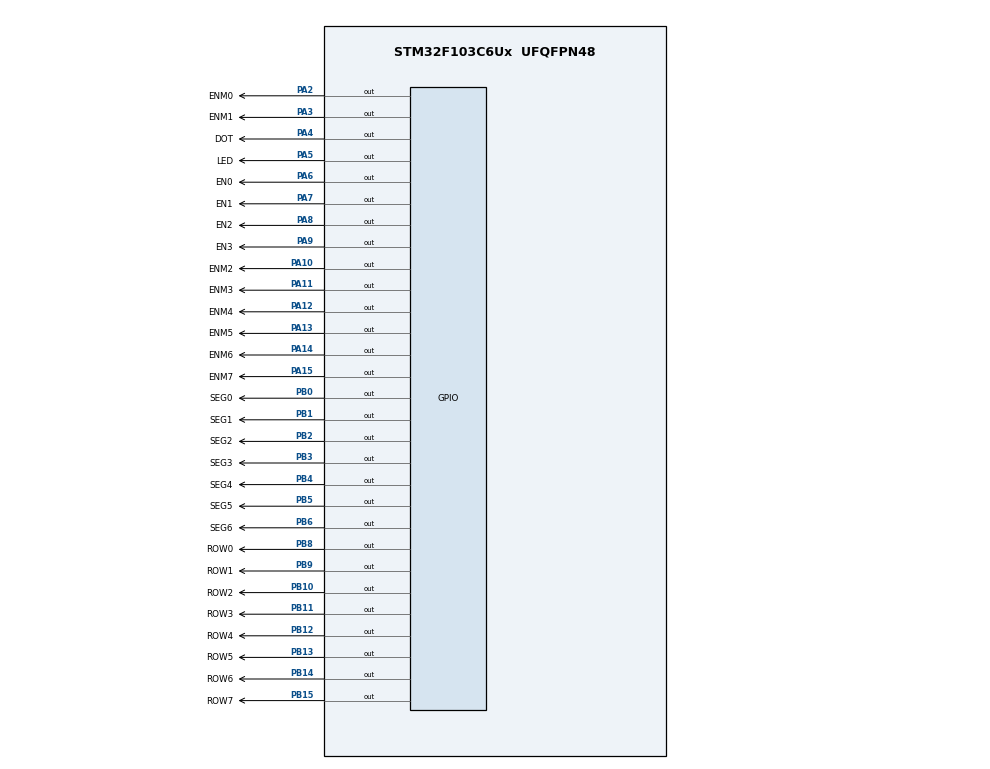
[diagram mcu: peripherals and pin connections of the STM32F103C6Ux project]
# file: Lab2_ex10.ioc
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Mcu.Family=STM32F1
Mcu.Name=STM32F103C6Ux
Mcu.Package=UFQFPN48
NVIC.PriorityGroup=NVIC_PRIORITYGROUP_4
NVIC.TIM2_IRQn=true\:0\:0\:false\:false\:true\:true\:true
PA10.GPIO_Label=ENM2
PA10.Signal=GPIO_Output
PA11.GPIO_Label=ENM3
PA11.Signal=GPIO_Output
PA12.GPIO_Label=ENM4
PA12.Signal=GPIO_Output
PA13.GPIO_Label=ENM5
PA13.Signal=GPIO_Output
PA14.GPIO_Label=ENM6
PA14.Signal=GPIO_Output
PA15.GPIO_Label=ENM7
PA15.Signal=GPIO_Output
PA2.GPIO_Label=ENM0
PA2.Signal=GPIO_Output
PA3.GPIO_Label=ENM1
PA3.Signal=GPIO_Output
PA4.GPIO_Label=DOT
PA4.Signal=GPIO_Output
PA5.GPIO_Label=LED
PA5.Signal=GPIO_Output
PA6.GPIO_Label=EN0
PA6.Signal=GPIO_Output
PA7.GPIO_Label=EN1
PA7.Signal=GPIO_Output
PA8.GPIO_Label=EN2
PA8.Signal=GPIO_Output
PA9.GPIO_Label=EN3
PA9.Signal=GPIO_Output
PB0.GPIO_Label=SEG0
PB0.Signal=GPIO_Output
PB1.GPIO_Label=SEG1
PB1.Signal=GPIO_Output
PB10.GPIO_Label=ROW2
PB10.Signal=GPIO_Output
PB11.GPIO_Label=ROW3
PB11.Signal=GPIO_Output
PB12.GPIO_Label=ROW4
PB12.Signal=GPIO_Output
PB13.GPIO_Label=ROW5
PB13.Signal=GPIO_Output
PB14.GPIO_Label=ROW6
PB14.Signal=GPIO_Output
PB15.GPIO_Label=ROW7
PB15.Signal=GPIO_Output
PB2.GPIO_Label=SEG2
PB2.Signal=GPIO_Output
PB3.GPIO_Label=SEG3
PB3.Signal=GPIO_Output
PB4.GPIO_Label=SEG4
PB4.Signal=GPIO_Output
PB5.GPIO_Label=SEG5
PB5.Signal=GPIO_Output
PB6.GPIO_Label=SEG6
PB6.Signal=GPIO_Output
PB8.GPIO_Label=ROW0
PB8.Signal=GPIO_Output
PB9.GPIO_Label=ROW1
PB9.Signal=GPIO_Output
ProjectManager.HeapSize=0x200
ProjectManager.StackSize=0x400
ProjectManager.TargetToolchain=STM32CubeIDE
RCC.APB1Freq_Value=8000000
RCC.APB2Freq_Value=8000000
TIM2.Period=9
TIM2.Prescaler=7999
VP_SYS_VS_ND.Mode=No_Debug
VP_TIM2_VS_ClockSourceINT.Mode=Internal
board=custom

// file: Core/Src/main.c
/* USER CODE BEGIN Header */
/**
  ******************************************************************************
  * @file           : main.c
  * @brief          : Main program body
  ******************************************************************************
  * @attention
  *
  * <h2><center>&copy; Copyright (c) 2022 STMicroelectronics.
  * All rights reserved.</center></h2>
  *
  * This software component is licensed by ST under BSD 3-Clause license,
  * the "License"; You may not use this file except in compliance with the
  * License. You may obtain a copy of the License at:
  *                        opensource.org/licenses/BSD-3-Clause
  *
  ******************************************************************************
  */
/* USER CODE END Header */
#include "main.h"

TIM_HandleTypeDef htim2;

void SystemClock_Config(void);
static void MX_GPIO_Init(void);
static void MX_TIM2_Init(void);

/* USER CODE BEGIN 0 */
void display7SEG(int num){
		  // VARIABLES a,b,c,d,e,f,g ARE DEFINED BY THESE SPECIFIC DESCRIPTION ABOVE.
		  // DISLAY NUMBER 0
			if(num == 0){
				HAL_GPIO_WritePin ( SEG0_GPIO_Port , SEG0_Pin ,GPIO_PIN_RESET );
				HAL_GPIO_WritePin ( SEG1_GPIO_Port , SEG1_Pin ,GPIO_PIN_RESET );
				HAL_GPIO_WritePin ( SEG2_GPIO_Port , SEG2_Pin ,GPIO_PIN_RESET );
				HAL_GPIO_WritePin ( SEG3_GPIO_Port , SEG3_Pin ,GPIO_PIN_RESET );
				HAL_GPIO_WritePin ( SEG4_GPIO_Port , SEG4_Pin ,GPIO_PIN_RESET );
				HAL_GPIO_WritePin ( SEG5_GPIO_Port , SEG5_Pin ,GPIO_PIN_RESET );
				HAL_GPIO_WritePin ( SEG6_GPIO_Port , SEG6_Pin ,GPIO_PIN_SET );
			}
			// DISLAY NUMBER 1
			else if(num == 1){
				HAL_GPIO_WritePin ( SEG0_GPIO_Port , SEG0_Pin ,GPIO_PIN_SET );
				HAL_GPIO_WritePin ( SEG1_GPIO_Port , SEG1_Pin ,GPIO_PIN_RESET );
				HAL_GPIO_WritePin ( SEG2_GPIO_Port , SEG2_Pin ,GPIO_PIN_RESET );
				HAL_GPIO_WritePin ( SEG3_GPIO_Port , SEG3_Pin ,GPIO_PIN_SET );
				HAL_GPIO_WritePin ( SEG4_GPIO_Port , SEG4_Pin ,GPIO_PIN_SET );
				HAL_GPIO_WritePin ( SEG5_GPIO_Port , SEG5_Pin ,GPIO_PIN_SET );
				HAL_GPIO_WritePin ( SEG6_GPIO_Port , SEG6_Pin ,GPIO_PIN_SET );
			}
			// DISLAY NUMBER 2
			else if(num == 2){
					HAL_GPIO_WritePin ( SEG0_GPIO_Port , SEG0_Pin ,GPIO_PIN_RESET );
					HAL_GPIO_WritePin ( SEG1_GPIO_Port , SEG1_Pin ,GPIO_PIN_RESET );
					HAL_GPIO_WritePin ( SEG2_GPIO_Port , SEG2_Pin ,GPIO_PIN_SET );
					HAL_GPIO_WritePin ( SEG3_GPIO_Port , SEG3_Pin ,GPIO_PIN_RESET );
					HAL_GPIO_WritePin ( SEG4_GPIO_Port , SEG4_Pin ,GPIO_PIN_RESET );
					HAL_GPIO_WritePin ( SEG5_GPIO_Port , SEG5_Pin ,GPIO_PIN_SET );
					HAL_GPIO_WritePin ( SEG6_GPIO_Port , SEG6_Pin ,GPIO_PIN_RESET );
				}
		    // DISLAY NUMBER 3
			else if(num == 3){
				HAL_GPIO_WritePin ( SEG0_GPIO_Port , SEG0_Pin ,GPIO_PIN_RESET );
				HAL_GPIO_WritePin ( SEG1_GPIO_Port , SEG1_Pin ,GPIO_PIN_RESET );
				HAL_GPIO_WritePin ( SEG2_GPIO_Port , SEG2_Pin ,GPIO_PIN_RESET );
				HAL_GPIO_WritePin ( SEG3_GPIO_Port , SEG3_Pin ,GPIO_PIN_RESET );
				HAL_GPIO_WritePin ( SEG4_GPIO_Port , SEG4_Pin ,GPIO_PIN_SET );
				HAL_GPIO_WritePin ( SEG5_GPIO_Port , SEG5_Pin ,GPIO_PIN_SET );
				HAL_GPIO_WritePin ( SEG6_GPIO_Port , SEG6_Pin ,GPIO_PIN_RESET );
			}
			// DISLAY NUMBER 4
			else if(num == 4){
				HAL_GPIO_WritePin ( SEG0_GPIO_Port , SEG0_Pin ,GPIO_PIN_SET );
				HAL_GPIO_WritePin ( SEG1_GPIO_Port , SEG1_Pin ,GPIO_PIN_RESET );
				HAL_GPIO_WritePin ( SEG2_GPIO_Port , SEG2_Pin ,GPIO_PIN_RESET );
				HAL_GPIO_WritePin ( SEG3_GPIO_Port , SEG3_Pin ,GPIO_PIN_SET );
				HAL_GPIO_WritePin ( SEG4_GPIO_Port , SEG4_Pin ,GPIO_PIN_SET );
				HAL_GPIO_WritePin ( SEG5_GPIO_Port , SEG5_Pin ,GPIO_PIN_RESET );
				HAL_GPIO_WritePin ( SEG6_GPIO_Port , SEG6_Pin ,GPIO_PIN_RESET );
			}
			// DISLAY NUMBER 5
			else if(num == 5){
				HAL_GPIO_WritePin ( SEG0_GPIO_Port , SEG0_Pin ,GPIO_PIN_RESET );
				HAL_GPIO_WritePin ( SEG1_GPIO_Port , SEG1_Pin ,GPIO_PIN_SET );
				HAL_GPIO_WritePin ( SEG2_GPIO_Port , SEG2_Pin ,GPIO_PIN_RESET );
				HAL_GPIO_WritePin ( SEG3_GPIO_Port , SEG3_Pin ,GPIO_PIN_RESET );
				HAL_GPIO_WritePin ( SEG4_GPIO_Port , SEG4_Pin ,GPIO_PIN_SET );
				HAL_GPIO_WritePin ( SEG5_GPIO_Port , SEG5_Pin ,GPIO_PIN_RESET );
				HAL_GPIO_WritePin ( SEG6_GPIO_Port , SEG6_Pin ,GPIO_PIN_RESET );
			}
			// DISLAY NUMBER 6
			else if(num == 6){
				HAL_GPIO_WritePin ( SEG0_GPIO_Port , SEG0_Pin ,GPIO_PIN_RESET );
				HAL_GPIO_WritePin ( SEG1_GPIO_Port , SEG1_Pin ,GPIO_PIN_SET );
				HAL_GPIO_WritePin ( SEG2_GPIO_Port , SEG2_Pin ,GPIO_PIN_RESET );
				HAL_GPIO_WritePin ( SEG3_GPIO_Port , SEG3_Pin ,GPIO_PIN_RESET );
				HAL_GPIO_WritePin ( SEG4_GPIO_Port , SEG4_Pin ,GPIO_PIN_RESET );
				HAL_GPIO_WritePin ( SEG5_GPIO_Port , SEG5_Pin ,GPIO_PIN_RESET );
				HAL_GPIO_WritePin ( SEG6_GPIO_Port , SEG6_Pin ,GPIO_PIN_RESET );
			}
			// DISLAY NUMBER 7
			else if(num == 7){
				HAL_GPIO_WritePin ( SEG0_GPIO_Port , SEG0_Pin ,GPIO_PIN_RESET );
				HAL_GPIO_WritePin ( SEG1_GPIO_Port , SEG1_Pin ,GPIO_PIN_RESET );
				HAL_GPIO_WritePin ( SEG2_GPIO_Port , SEG2_Pin ,GPIO_PIN_RESET );
				HAL_GPIO_WritePin ( SEG3_GPIO_Port , SEG3_Pin ,GPIO_PIN_SET );
				HAL_GPIO_WritePin ( SEG4_GPIO_Port , SEG4_Pin ,GPIO_PIN_SET );
				HAL_GPIO_WritePin ( SEG5_GPIO_Port , SEG5_Pin ,GPIO_PIN_SET );
				HAL_GPIO_WritePin ( SEG6_GPIO_Port , SEG6_Pin ,GPIO_PIN_SET );
			}
			// DISLAY NUMBER 8
			else if(num == 8){
				HAL_GPIO_WritePin ( SEG0_GPIO_Port , SEG0_Pin ,GPIO_PIN_RESET );
				HAL_GPIO_WritePin ( SEG1_GPIO_Port , SEG1_Pin ,GPIO_PIN_RESET );
				HAL_GPIO_WritePin ( SEG2_GPIO_Port , SEG2_Pin ,GPIO_PIN_RESET );
				HAL_GPIO_WritePin ( SEG3_GPIO_Port , SEG3_Pin ,GPIO_PIN_RESET );
				HAL_GPIO_WritePin ( SEG4_GPIO_Port , SEG4_Pin ,GPIO_PIN_RESET );
				HAL_GPIO_WritePin ( SEG5_GPIO_Port , SEG5_Pin ,GPIO_PIN_RESET );
				HAL_GPIO_WritePin ( SEG6_GPIO_Port , SEG6_Pin ,GPIO_PIN_RESET );
			}
			// DISLAY NUMBER 9
			else if(num == 9){
				HAL_GPIO_WritePin ( SEG0_GPIO_Port , SEG0_Pin ,GPIO_PIN_RESET );
				HAL_GPIO_WritePin ( SEG1_GPIO_Port , SEG1_Pin ,GPIO_PIN_RESET );
				HAL_GPIO_WritePin ( SEG2_GPIO_Port , SEG2_Pin ,GPIO_PIN_RESET );
				HAL_GPIO_WritePin ( SEG3_GPIO_Port , SEG3_Pin ,GPIO_PIN_RESET );
				HAL_GPIO_WritePin ( SEG4_GPIO_Port , SEG4_Pin ,GPIO_PIN_SET );
				HAL_GPIO_WritePin ( SEG5_GPIO_Port , SEG5_Pin ,GPIO_PIN_RESET );
				HAL_GPIO_WritePin ( SEG6_GPIO_Port , SEG6_Pin ,GPIO_PIN_RESET );
			}
		}
	const int MAX_LED = 4;
	int index_led = 0;
	int led_buffer [4] = {1, 2, 3, 4};
	void update7SEG ( int index ){
		HAL_GPIO_WritePin(GPIOA, EN0_Pin, SET);
		HAL_GPIO_WritePin(GPIOA, EN1_Pin, SET);
		HAL_GPIO_WritePin(GPIOA, EN2_Pin, SET);
		HAL_GPIO_WritePin(GPIOA, EN3_Pin, SET);
		display7SEG(led_buffer[index]);
			switch ( index ){
				case 0:
					HAL_GPIO_WritePin(GPIOA, EN0_Pin, RESET);

					// Display the first 7 SEG with led_buffer [0]
					break ;
				case 1:
					HAL_GPIO_WritePin(GPIOA, EN1_Pin, RESET);

					// Display the second 7 SEG with led_buffer [1]
					break ;
				case 2:

					HAL_GPIO_WritePin(GPIOA, EN2_Pin, RESET);

					// Display the third 7 SEG with led_buffer [2]
					break ;
				case 3:
					HAL_GPIO_WritePin(GPIOA, EN3_Pin, RESET);

					// Display the forth 7 SEG with led_buffer [3]
					break ;
				default :
					break ;
			}
 }
	int timer0_counter = 0;
	int timer1_counter = 0;

	int timer0_flag = 0;
	int timer1_flag = 0;

	int TIMER_CYCLE = 10;
	void setTimer0(int duration){
		timer0_counter = duration /TIMER_CYCLE;
		timer0_flag = 0;
	}
	void setTimer1(int duration){
			timer1_counter = duration /TIMER_CYCLE;
			timer1_flag = 0;
		}
	void timer_run(){
		if(timer0_counter > 0){
			timer0_counter--;
			if(timer0_counter == 0) timer0_flag = 1;
		}
		if(timer1_counter > 0){
			timer1_counter--;
			if(timer1_counter == 0) timer1_flag = 1;
		}
	}

	int hour = 5,minute = 8,second = 50;
	void updateClockBuffer(){
		led_buffer[0] = hour/10;
		led_buffer[1] = hour%10;
		led_buffer[2] = minute/10;
		led_buffer[3] = minute%10;

	}

const int MAX_LED_MATRIX = 7;
int index_led_matrix = 0;
uint8_t matrix_buffer[8] = {0xfc,0xfe,0x1b,0x19,0x19,0x1b,0xfe,0xfc}; //BUFFER A CHARACTER IN LED MATRIX

void updateLEDMatrix(int index){

	//Initial all of Led matrix status ,setting up at 1 in order to turn off.
	HAL_GPIO_WritePin(GPIOB, ROW0_Pin|ROW1_Pin|ROW2_Pin|ROW3_Pin|ROW4_Pin|ROW5_Pin|ROW6_Pin| ROW7_Pin, SET);
	HAL_GPIO_WritePin(GPIOA, ENM0_Pin|ENM1_Pin|ENM2_Pin|ENM3_Pin|ENM4_Pin|ENM5_Pin|ENM6_Pin| ENM7_Pin, SET);
	if(index > 7)index = 0;

	//Enable signal
	switch (index){
        case 0:
        	HAL_GPIO_WritePin(GPIOA, ENM0_Pin, RESET);
            break;
        case 1:
        	HAL_GPIO_WritePin(GPIOA, ENM1_Pin, RESET);
            break;
        case 2:
        	HAL_GPIO_WritePin(GPIOA, ENM2_Pin, RESET);
            break;
        case 3:
        	HAL_GPIO_WritePin(GPIOA, ENM3_Pin, RESET);
            break;
        case 4:
        	HAL_GPIO_WritePin(GPIOA, ENM4_Pin, RESET);
            break;
        case 5:
        	HAL_GPIO_WritePin(GPIOA, ENM5_Pin, RESET);
            break;
        case 6:
        	HAL_GPIO_WritePin(GPIOA, ENM6_Pin, RESET);
            break;
        case 7:
        	HAL_GPIO_WritePin(GPIOA, ENM7_Pin, RESET);
            break;
        default:
            break;

    }
	// In terms of BSRR setup,there are total 32 bit.
	// The bit setting up on intial stage are 8-bit little endian.Meanwhile, the led matrix is operated at 8-bit Big endian.
	// Therefore,it is obligatory that i have to shift 24 bit in left in order to led matrix operate the led matrix and also keep other I/O port unchanged
	GPIOB->BSRR=(matrix_buffer[index]<<24);
}
void Update_ShiftleftMatrix(){
	// To create a animation of the LEd matrix, especially shifting to the left, we have to create a function that could capture the losting bit
	// and then, we can shift left 1 bit gradually and concurrently add lost bit to the end
	 for (int i = 0; i < MAX_LED_MATRIX; i++) {
	        //Capture and save the bit that's shifted out in order to create animation
	        int prevbit = matrix_buffer[i] >> 7;
	        matrix_buffer[i]  <<= 1;    //Shift left buffer at 1 bit
	        //Add lost bit to the end of current buffer
	        matrix_buffer[i] |= prevbit;
	    }
}

/* USER CODE END 0 */

int main(void)
{

  /* MCU Configuration--------------------------------------------------------*/

  /* Reset of all peripherals, Initializes the Flash interface and the Systick. */
  HAL_Init();

  /* Configure the system clock */
  SystemClock_Config();

  /* Initialize all configured peripherals */
  MX_GPIO_Init();
  MX_TIM2_Init();
  /* USER CODE BEGIN 2 */
  HAL_TIM_Base_Start_IT(&htim2);

  /* USER CODE END 2 */

  /* Infinite loop */
  /* USER CODE BEGIN WHILE */
  setTimer0 (1000) ;
  setTimer1 (500);
  while (1)
  {
	  if(timer0_flag == 1){
		  second ++;
		   if ( second >= 60) {
		   second = 0;
		   minute ++;
		   }
		   if( minute >= 60) {
		   minute = 0;
		   hour ++;
		   }
		   if( hour >=24){
		   hour = 0;
		   }
		   HAL_GPIO_TogglePin ( GPIOA , DOT_Pin ) ;
		   updateClockBuffer ();
		   Update_ShiftleftMatrix();
		   setTimer0 (1000) ;
	  }
	  if (timer1_flag == 1){
			  HAL_GPIO_TogglePin ( LED_GPIO_Port , LED_Pin );

			  if (index_led >= MAX_LED) index_led = 0;
			  update7SEG(index_led++);

			  if (index_led_matrix > MAX_LED_MATRIX) index_led_matrix = 0;
		//	  updateLEDMatrix(index_led_matrix++);
			  updateLEDMatrix(index_led_matrix++);
			  setTimer1(100);
		  }
    /* USER CODE END WHILE */

  }
}

void SystemClock_Config(void)
{
  RCC_OscInitTypeDef RCC_OscInitStruct = {0};
  RCC_ClkInitTypeDef RCC_ClkInitStruct = {0};

  /** Initializes the RCC Oscillators according to the specified parameters
  * in the RCC_OscInitTypeDef structure.
  */
  RCC_OscInitStruct.OscillatorType = RCC_OSCILLATORTYPE_HSI;
  RCC_OscInitStruct.HSIState = RCC_HSI_ON;
  RCC_OscInitStruct.HSICalibrationValue = RCC_HSICALIBRATION_DEFAULT;
  RCC_OscInitStruct.PLL.PLLState = RCC_PLL_NONE;
  if (HAL_RCC_OscConfig(&RCC_OscInitStruct) != HAL_OK)
  {
    Error_Handler();
  }
  /** Initializes the CPU, AHB and APB buses clocks
  */
  RCC_ClkInitStruct.ClockType = RCC_CLOCKTYPE_HCLK|RCC_CLOCKTYPE_SYSCLK
                              |RCC_CLOCKTYPE_PCLK1|RCC_CLOCKTYPE_PCLK2;
  RCC_ClkInitStruct.SYSCLKSource = RCC_SYSCLKSOURCE_HSI;
  RCC_ClkInitStruct.AHBCLKDivider = RCC_SYSCLK_DIV1;
  RCC_ClkInitStruct.APB1CLKDivider = RCC_HCLK_DIV1;
  RCC_ClkInitStruct.APB2CLKDivider = RCC_HCLK_DIV1;

  if (HAL_RCC_ClockConfig(&RCC_ClkInitStruct, FLASH_LATENCY_0) != HAL_OK)
  {
    Error_Handler();
  }
}

static void MX_TIM2_Init(void)
{

  TIM_ClockConfigTypeDef sClockSourceConfig = {0};
  TIM_MasterConfigTypeDef sMasterConfig = {0};

  htim2.Instance = TIM2;
  htim2.Init.Prescaler = 7999;
  htim2.Init.CounterMode = TIM_COUNTERMODE_UP;
  htim2.Init.Period = 9;
  htim2.Init.ClockDivision = TIM_CLOCKDIVISION_DIV1;
  htim2.Init.AutoReloadPreload = TIM_AUTORELOAD_PRELOAD_DISABLE;
  if (HAL_TIM_Base_Init(&htim2) != HAL_OK)
  {
    Error_Handler();
  }
  sClockSourceConfig.ClockSource = TIM_CLOCKSOURCE_INTERNAL;
  if (HAL_TIM_ConfigClockSource(&htim2, &sClockSourceConfig) != HAL_OK)
  {
    Error_Handler();
  }
  sMasterConfig.MasterOutputTrigger = TIM_TRGO_RESET;
  sMasterConfig.MasterSlaveMode = TIM_MASTERSLAVEMODE_DISABLE;
  if (HAL_TIMEx_MasterConfigSynchronization(&htim2, &sMasterConfig) != HAL_OK)
  {
    Error_Handler();
  }

}

static void MX_GPIO_Init(void)
{
  GPIO_InitTypeDef GPIO_InitStruct = {0};

  /* GPIO Ports Clock Enable */
  __HAL_RCC_GPIOA_CLK_ENABLE();
  __HAL_RCC_GPIOB_CLK_ENABLE();

  /*Configure GPIO pin Output Level */
  HAL_GPIO_WritePin(GPIOA, ENM0_Pin|ENM1_Pin|DOT_Pin|LED_Pin
                          |EN0_Pin|EN1_Pin|EN2_Pin|EN3_Pin
                          |ENM2_Pin|ENM3_Pin|ENM4_Pin|ENM5_Pin
                          |ENM6_Pin|ENM7_Pin, GPIO_PIN_RESET);

  /*Configure GPIO pin Output Level */
  HAL_GPIO_WritePin(GPIOB, SEG0_Pin|SEG1_Pin|SEG2_Pin|ROW2_Pin
                          |ROW3_Pin|ROW4_Pin|ROW5_Pin|ROW6_Pin
                          |ROW7_Pin|SEG3_Pin|SEG4_Pin|SEG5_Pin
                          |SEG6_Pin|ROW0_Pin|ROW1_Pin, GPIO_PIN_RESET);

  /*Configure GPIO pins : ENM0_Pin ENM1_Pin DOT_Pin LED_Pin
                           EN0_Pin EN1_Pin EN2_Pin EN3_Pin
                           ENM2_Pin ENM3_Pin ENM4_Pin ENM5_Pin
                           ENM6_Pin ENM7_Pin */
  GPIO_InitStruct.Pin = ENM0_Pin|ENM1_Pin|DOT_Pin|LED_Pin
                          |EN0_Pin|EN1_Pin|EN2_Pin|EN3_Pin
                          |ENM2_Pin|ENM3_Pin|ENM4_Pin|ENM5_Pin
                          |ENM6_Pin|ENM7_Pin;
  GPIO_InitStruct.Mode = GPIO_MODE_OUTPUT_PP;
  GPIO_InitStruct.Pull = GPIO_NOPULL;
  GPIO_InitStruct.Speed = GPIO_SPEED_FREQ_LOW;
  HAL_GPIO_Init(GPIOA, &GPIO_InitStruct);

  /*Configure GPIO pins : SEG0_Pin SEG1_Pin SEG2_Pin ROW2_Pin
                           ROW3_Pin ROW4_Pin ROW5_Pin ROW6_Pin
                           ROW7_Pin SEG3_Pin SEG4_Pin SEG5_Pin
                           SEG6_Pin ROW0_Pin ROW1_Pin */
  GPIO_InitStruct.Pin = SEG0_Pin|SEG1_Pin|SEG2_Pin|ROW2_Pin
                          |ROW3_Pin|ROW4_Pin|ROW5_Pin|ROW6_Pin
                          |ROW7_Pin|SEG3_Pin|SEG4_Pin|SEG5_Pin
                          |SEG6_Pin|ROW0_Pin|ROW1_Pin;
  GPIO_InitStruct.Mode = GPIO_MODE_OUTPUT_PP;
  GPIO_InitStruct.Pull = GPIO_NOPULL;
  GPIO_InitStruct.Speed = GPIO_SPEED_FREQ_LOW;
  HAL_GPIO_Init(GPIOB, &GPIO_InitStruct);

}

/* USER CODE BEGIN 4 */
int blink_LED = 25;//Half second
int blink_DOT = 100;// a second
int idx_7seg  = 0;
void HAL_TIM_PeriodElapsedCallback(TIM_HandleTypeDef *htim){
	timer_run();
}

/* USER CODE END 4 */

void Error_Handler(void)
{
  __disable_irq();
  while (1)
  {
  }
}

/************************ (C) COPYRIGHT STMicroelectronics *****END OF FILE****/
